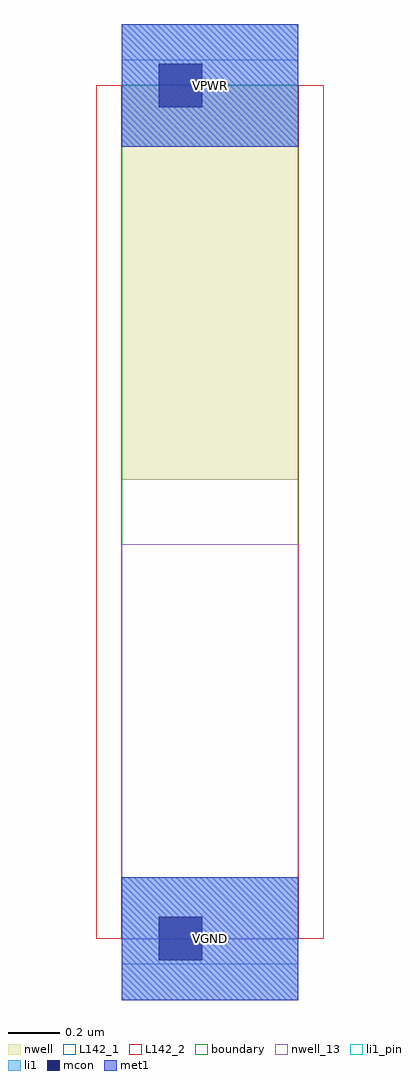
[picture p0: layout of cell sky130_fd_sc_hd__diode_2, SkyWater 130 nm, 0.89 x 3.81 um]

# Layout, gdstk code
import gdstk
lib = gdstk.Library(unit=1e-6, precision=1e-09)
def R(c, l, rs):  # rectangles x0, y0, x1, y1
    for r in rs: c.add(gdstk.rectangle(r[:2], r[2:], *l))
nwell_13 = (64, 13)
nwell = (64, 20)
li1_pin = (67, 16)
li1 = (67, 20)
mcon = (67, 44)
met1 = (68, 20)
L142_1 = (142, 1)
L142_2 = (142, 2)
boundary = (235, 4)

sky130_fd_sc_hd__diode_2 = lib.new_cell('sky130_fd_sc_hd__diode_2')
R(sky130_fd_sc_hd__diode_2, nwell_13, [(0,0,0.69,1.54)])
R(sky130_fd_sc_hd__diode_2, nwell, [(0,1.79,0.69,3.33)])
R(sky130_fd_sc_hd__diode_2, li1_pin, [(0,-0.24,0.69,0.24), (0,3.09,0.69,3.57)])
R(sky130_fd_sc_hd__diode_2, li1, [(0,-0.24,0.69,0.24), (0,3.09,0.69,3.57)])
R(sky130_fd_sc_hd__diode_2, mcon, [(0.145,-0.085,0.315,0.085), (0.145,3.245,0.315,3.415)])
R(sky130_fd_sc_hd__diode_2, met1, [(0,-0.24,0.69,0.24), (0,3.09,0.69,3.57)])
R(sky130_fd_sc_hd__diode_2, L142_1, [(0,-0.1,0.69,0), (0,3.33,0.69,3.43)])
R(sky130_fd_sc_hd__diode_2, L142_2, [(-0.1,0,0,3.33), (0.69,0,0.79,3.33)])
R(sky130_fd_sc_hd__diode_2, boundary, [(0,0,0.69,3.33)])
sky130_fd_sc_hd__diode_2.add(gdstk.Label('VPWR', (0.345,3.33), layer=67, texttype=20))
sky130_fd_sc_hd__diode_2.add(gdstk.Label('VGND', (0.345,0), layer=67, texttype=20))
sky130_fd_sc_hd__diode_2.add(gdstk.Label('VPWR', (0.345,3.33), layer=67, texttype=20))
sky130_fd_sc_hd__diode_2.add(gdstk.Label('VGND', (0.345,0), layer=67, texttype=20))
sky130_fd_sc_hd__diode_2.add(gdstk.Label('VPWR', (0.23,3.33), layer=67, texttype=20))
sky130_fd_sc_hd__diode_2.add(gdstk.Label('VGND', (0.23,0), layer=67, texttype=20))
sky130_fd_sc_hd__diode_2.add(gdstk.Label('VGND', (0.345,0), layer=67, texttype=5))
sky130_fd_sc_hd__diode_2.add(gdstk.Label('VPWR', (0.345,3.33), layer=67, texttype=5))
sky130_fd_sc_hd__diode_2.add(gdstk.Label('VPWR', (0.23,3.33), layer=67, texttype=44))
sky130_fd_sc_hd__diode_2.add(gdstk.Label('VGND', (0.23,0), layer=67, texttype=44))
sky130_fd_sc_hd__diode_2.add(gdstk.Label('VPWR', (0.345,3.33), layer=68, texttype=20))
sky130_fd_sc_hd__diode_2.add(gdstk.Label('VGND', (0.345,0), layer=68, texttype=20))
sky130_fd_sc_hd__diode_2.add(gdstk.Label('VPWR', (0.345,3.33), layer=68, texttype=20))
sky130_fd_sc_hd__diode_2.add(gdstk.Label('VGND', (0.345,0), layer=68, texttype=20))
sky130_fd_sc_hd__diode_2.add(gdstk.Label('VPWR', (0.23,3.33), layer=68, texttype=20))
sky130_fd_sc_hd__diode_2.add(gdstk.Label('VGND', (0.23,0), layer=68, texttype=20))
sky130_fd_sc_hd__diode_2.add(gdstk.Label('VGND', (0.345,0), layer=68, texttype=5))
sky130_fd_sc_hd__diode_2.add(gdstk.Label('VPWR', (0.345,3.33), layer=68, texttype=5))

lib.write_gds('sky130_fd_sc_hd__diode_2.gds')
